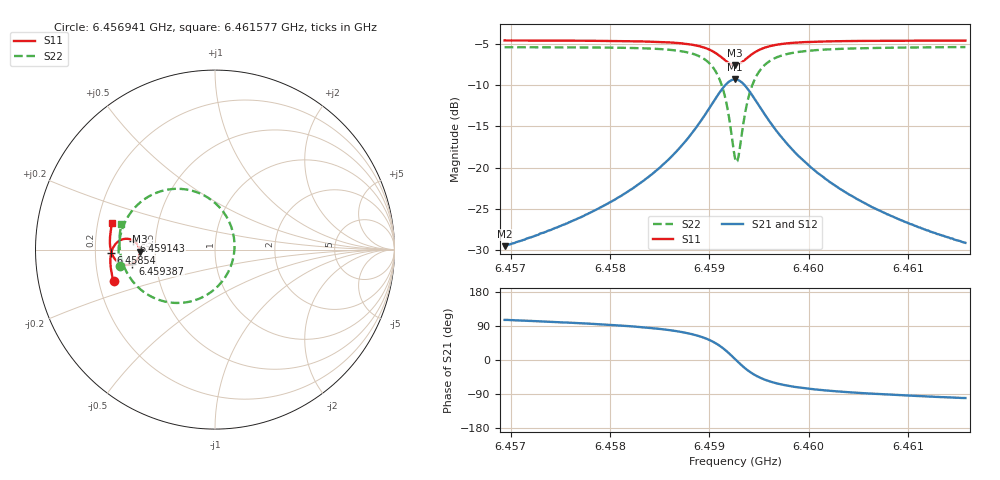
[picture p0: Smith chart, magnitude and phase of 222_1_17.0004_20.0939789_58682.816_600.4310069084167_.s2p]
#  HZ  S  RI  R  50.00
! Rohde & Schwarz Vector Network Analyzer
! Rohde-Schwarz,ZNB20-2Port,1311601062101988,3.16
! Created: UTC 3/20/2024, 11:02:00 PM
! freq[Hz]  re:S11  im:S11  re:S21  im:S21  re:S12  im:S12  re:S22  im:S22
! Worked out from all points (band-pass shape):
!   401 points, 6.456941 GHz to 6.461577 GHz, reference 50 ohm
!   highest |S21| = -9.28 dB at 6.459259 GHz (marker M1); lowest = -29.5 dB at 6.456941 GHz (marker M2)
!   |S21| within 3 dB of the highest: 6.459027 GHz to 6.45949 GHz (462.9 kHz wide, 0.00717 % of centre)
!   lowest |S11| = -7.6 dB at 6.459259 GHz (marker M3), VSWR 2.44, Z = 20.5 - j0.617 ohm
!   |S11| at or under -10 dB: nowhere
!   |S22| runs from -19.3 to -5.4 dB; largest |S21 - S12| = 0.013
!   S11 on the Smith chart (normalised r, x): 6.456941 GHz: 0.26, -0.14; 6.45854 GHz: 0.27, -0.01; 6.459143 GHz: 0.37, +0.05; 6.459387 GHz: 0.37, -0.07; 6.461577 GHz: 0.26, +0.12
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6.4569406e9  -0.5654 -0.176  -0.00906 0.0321  -0.00751 0.0321  -0.5309 -0.0916
6.4577173e9  -0.58 -0.1084  -0.00604 0.05  -0.00343 0.0496  -0.5373 -0.00113
6.4581578e9  -0.5833 -0.0643  1.79e-06 0.0701  0.00327 0.0688  -0.5295 0.0686
6.4584939e9  -0.5797 -0.0241  0.0135 0.0983  0.0173 0.0957  -0.5051 0.1444
6.4585403e9  -0.5783 -0.0178  0.0167 0.1037  0.0208 0.1007  -0.4991 0.1577
6.458749e9  -0.5663 0.0141  0.0428 0.1353  0.0467 0.1307  -0.4508 0.2295
6.4588997e9  -0.5452 0.0403  0.0849 0.1658  0.0883 0.1593  -0.3728 0.2939
6.4590503e9  -0.4991 0.0602  0.1765 0.1852  0.1776 0.1779  -0.2054 0.3386
6.4591431e9  -0.4545 0.0502  0.2664 0.1544  0.2666 0.1487  -0.0394 0.2896
6.4591895e9  -0.4334 0.0315  0.31 0.1118  0.3111 0.1067  0.0436 0.2138
6.459259e9  -0.4187 -0.0124  0.3433 0.0155  0.347 0.00872  0.1087 0.0351
6.4592706e9  -0.4191 -0.0205  0.3432 -0.00223  0.347 -0.00983  0.1083 0.00154
6.4592938e9  -0.4226 -0.036  0.3377 -0.0367  0.3415 -0.0456  0.0975 -0.0639
6.4593402e9  -0.4382 -0.062  0.3094 -0.0965  0.3116 -0.108  0.0404 -0.1765
6.4593865e9  -0.4601 -0.078  0.2677 -0.1373  0.2669 -0.1503  -0.0437 -0.2511
6.4594793e9  -0.5032 -0.0848  0.1836 -0.1685  0.1775 -0.1799  -0.2111 -0.2972
6.45963e9  -0.5468 -0.0644  0.0962 -0.155  0.088 -0.1612  -0.3775 -0.2491
6.4597922e9  -0.5682 -0.0367  0.0517 -0.1275  0.0441 -0.1303  -0.4579 -0.1779
6.4600357e9  -0.581 -0.00121  0.0228 -0.0963  0.0168 -0.0969  -0.506 -0.0959
6.4603834e9  -0.5856 0.0397  0.00656 -0.0699  0.00259 -0.0694  -0.5278 -0.0171
6.4608123e9  -0.5838 0.0827  -0.00127 -0.0515  -0.00397 -0.0507  -0.5323 0.051
6.4615774e9  -0.5718 0.1505  -0.00627 -0.0344  -0.00811 -0.0334  -0.5213 0.141
